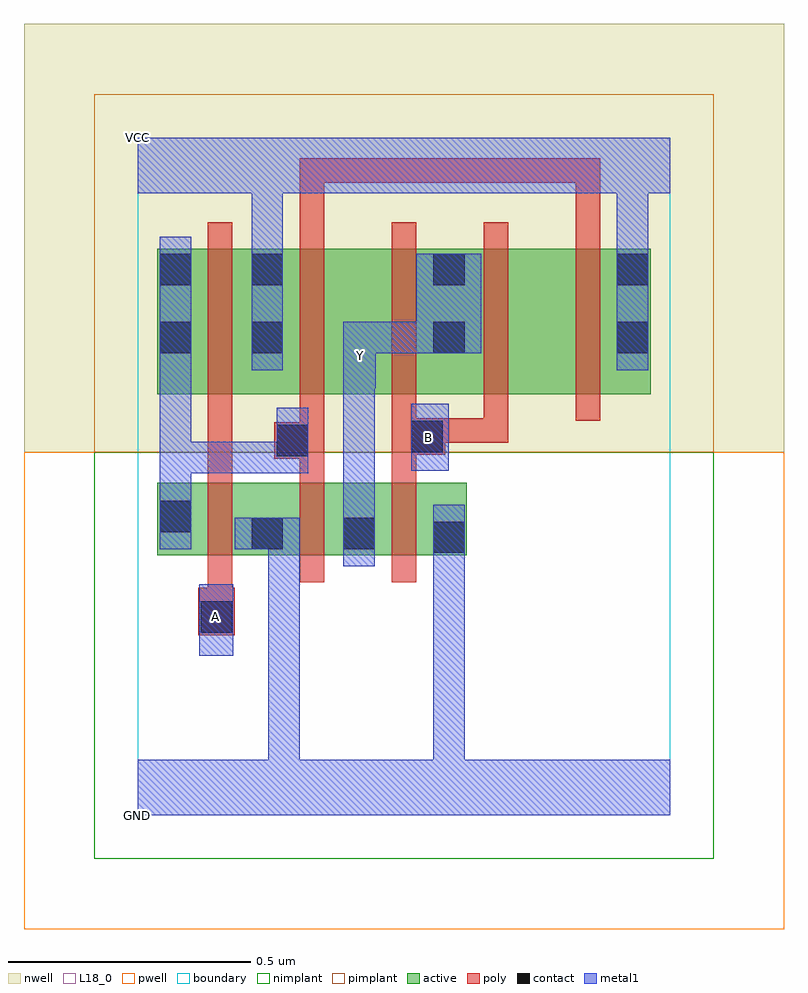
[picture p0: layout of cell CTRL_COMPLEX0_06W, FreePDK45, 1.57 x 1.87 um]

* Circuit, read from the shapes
.subckt CTRL_COMPLEX0_06W A B GND VCC Y
M1 GND A n1 VSUBS nfet w=0.15u l=0.05u
M2 Y n1 GND VSUBS nfet w=0.15u l=0.05u
M3 GND B Y VSUBS nfet w=0.15u l=0.05u
M4 VCC A n1 n2 pfet w=0.3u l=0.05u
M5 n3 n1 VCC n2 pfet w=0.3u l=0.05u
M6 Y B n3 n2 pfet w=0.3u l=0.05u
M7 n4 B Y n2 pfet w=0.3u l=0.05u
M8 VCC n1 n4 n2 pfet w=0.3u l=0.05u
.ends

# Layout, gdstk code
import gdstk
lib = gdstk.Library(unit=1e-6, precision=1e-09)
def R(c, l, rs):  # rectangles x0, y0, x1, y1
    for r in rs: c.add(gdstk.rectangle(r[:2], r[2:], *l))
def A(c, l, x, y, w, h, nx, ny, dx, dy):  # array of equal rectangles
    R(c, l, [(x+i*dx, y+j*dy, x+i*dx+w, y+j*dy+h) for i in range(nx) for j in range(ny)])
active = (1, 0)
pwell = (2, 0)
nwell = (3, 0)
nimplant = (4, 0)
pimplant = (5, 0)
poly = (9, 0)
contact = (10, 0)
metal1 = (11, 0)
L18_0 = (18, 0)
boundary = (235, 0)

ctrl_complex0_06w = lib.new_cell('CTRL_COMPLEX0_06W')
R(ctrl_complex0_06w, active, [(0.04,0.537,0.115,0.687), (0.04,0.537,0.305,0.687), (0.23,0.537,0.305,0.62), (0.23,0.537,0.495,0.687), (0.42,0.537,0.68,0.687), (0.42,0.537,0.495,0.62), (0.605,0.537,0.68,0.687), (0.04,0.87,0.305,1.17), (0.04,0.87,0.115,1.165), (0.23,0.87,0.305,1.17), (0.23,0.87,0.455,1.17), (0.455,0.87,0.68,1.17), (0.605,0.87,0.68,1.17), (0.605,0.87,0.835,1.17), (0.835,0.87,1.06,1.17), (0.985,0.87,1.06,1.17)])
R(ctrl_complex0_06w, pwell, [(-0.235,-0.235,1.335,0.75)])
R(ctrl_complex0_06w, nwell, [(-0.235,0.75,1.335,1.635)])
R(ctrl_complex0_06w, nimplant, [(-0.09,-0.09,1.19,0.75)])
R(ctrl_complex0_06w, pimplant, [(-0.09,0.75,1.19,1.49)])
A(ctrl_complex0_06w, poly, 0.145, 0.482, 0.05, 0.26, 3, 1, 0.19, 0)
A(ctrl_complex0_06w, poly, 0.145, 0.815, 0.05, 0.41, 5, 1, 0.19, 0)
R(ctrl_complex0_06w, poly, [(0.125,0.372,0.2,0.47), (0.145,0.42,0.195,0.532), (0.145,0.692,0.195,0.787), (0.335,0.692,0.385,0.787), (0.525,0.692,0.575,0.795), (0.145,0.737,0.195,0.787), (0.145,0.737,0.195,0.865), (0.282,0.737,0.385,0.812), (0.525,0.745,0.635,0.82), (0.335,0.762,0.385,0.865), (0.525,0.77,0.575,0.865), (0.585,0.77,0.765,0.82), (0.715,0.77,0.765,0.82), (0.715,0.77,0.765,0.82), (0.715,0.77,0.765,0.82), (0.715,0.77,0.765,0.865), (0.335,1.175,0.385,1.357), (0.905,1.175,0.955,1.357), (0.335,1.307,0.385,1.357), (0.335,1.307,0.385,1.357), (0.335,1.307,0.385,1.357), (0.335,1.307,0.632,1.357), (0.582,1.307,0.632,1.357), (0.582,1.307,0.822,1.357), (0.772,1.307,0.822,1.357), (0.772,1.307,0.822,1.357), (0.772,1.307,0.822,1.357), (0.772,1.307,0.955,1.357), (0.905,1.307,0.955,1.357), (0.905,1.307,0.955,1.357), (0.905,1.307,0.955,1.357)])
R(ctrl_complex0_06w, contact, [(0.13,0.377,0.195,0.442), (0.61,0.542,0.675,0.607), (0.235,0.55,0.3,0.615), (0.425,0.55,0.49,0.615), (0.045,0.585,0.11,0.65), (0.287,0.742,0.352,0.807), (0.565,0.75,0.63,0.815), (0.045,0.955,0.11,1.02), (0.235,0.955,0.3,1.02), (0.61,0.955,0.675,1.02), (0.99,0.955,1.055,1.02), (0.045,1.095,0.11,1.16), (0.235,1.095,0.3,1.16), (0.61,1.095,0.675,1.16), (0.99,1.095,1.055,1.16)])
R(ctrl_complex0_06w, metal1, [(0,0,1.1,0.115), (0.27,0.05,0.335,0.115), (0.27,0.05,0.335,0.115), (0.27,0.05,0.335,0.115), (0.27,0.05,0.335,0.115), (0.27,0.05,0.335,0.115), (0.27,0.05,0.335,0.115), (0.27,0.05,0.335,0.615), (0.61,0.05,0.675,0.115), (0.61,0.05,0.675,0.115), (0.61,0.05,0.675,0.115), (0.61,0.05,0.675,0.115), (0.61,0.05,0.675,0.115), (0.61,0.05,0.675,0.115), (0.61,0.05,0.675,0.572), (0.127,0.33,0.197,0.477), (0.61,0.507,0.675,0.642), (0.425,0.515,0.49,0.65), (0.045,0.55,0.11,0.685), (0.2,0.55,0.335,0.615), (0.425,0.585,0.49,0.947), (0.045,0.62,0.11,0.772), (0.045,0.707,0.11,0.772), (0.045,0.707,0.11,0.772), (0.045,0.707,0.11,0.772), (0.045,0.707,0.352,0.772), (0.045,0.707,0.11,0.985), (0.287,0.707,0.352,0.772), (0.287,0.707,0.352,0.772), (0.287,0.707,0.352,0.842), (0.565,0.712,0.642,0.85), (0.425,0.882,0.492,1.02), (0.045,0.92,0.11,1.195), (0.235,0.92,0.3,1.195), (0.99,0.92,1.055,1.195), (0.427,0.955,0.492,1.02), (0.427,0.955,0.492,1.02), (0.427,0.955,0.492,1.02), (0.427,0.955,0.492,1.02), (0.427,0.955,0.64,1.02), (0.575,0.955,0.71,1.16), (0.235,1.13,0.3,1.35), (0.99,1.13,1.055,1.35), (0,1.285,1.1,1.4), (0.235,1.285,0.3,1.35), (0.235,1.285,0.3,1.35), (0.99,1.285,1.055,1.35), (0.99,1.285,1.055,1.35)])
R(ctrl_complex0_06w, L18_0, [(0,0,1.1,0.115), (0.27,0.05,0.335,0.115), (0.27,0.05,0.335,0.115), (0.27,0.05,0.335,0.115), (0.27,0.05,0.335,0.115), (0.27,0.05,0.335,0.115), (0.27,0.05,0.335,0.115), (0.27,0.05,0.335,0.615), (0.61,0.05,0.675,0.115), (0.61,0.05,0.675,0.115), (0.61,0.05,0.675,0.115), (0.61,0.05,0.675,0.115), (0.61,0.05,0.675,0.115), (0.61,0.05,0.675,0.115), (0.61,0.05,0.675,0.572), (0.127,0.33,0.197,0.477), (0.127,0.377,0.192,0.442), (0.61,0.507,0.675,0.642), (0.425,0.515,0.49,0.65), (0.2,0.55,0.335,0.615), (0.425,0.585,0.49,0.947), (0.565,0.712,0.642,0.85), (0.567,0.747,0.632,0.812), (0.425,0.882,0.492,1.02), (0.427,0.917,0.492,0.982), (0.235,0.92,0.3,1.195), (0.99,0.92,1.055,1.195), (0.427,0.955,0.492,1.02), (0.427,0.955,0.492,1.02), (0.427,0.955,0.492,1.02), (0.427,0.955,0.492,1.02), (0.427,0.955,0.64,1.02), (0.575,0.955,0.71,1.16), (0.235,1.13,0.3,1.35), (0.99,1.13,1.055,1.35), (0,1.285,1.1,1.4), (0.235,1.285,0.3,1.35), (0.235,1.285,0.3,1.35), (0.99,1.285,1.055,1.35), (0.99,1.285,1.055,1.35)])
R(ctrl_complex0_06w, boundary, [(0,0,1.1,1.4)])
ctrl_complex0_06w.add(gdstk.Label('A', (0.16,0.41), layer=11, texttype=0))
ctrl_complex0_06w.add(gdstk.Label('B', (0.6,0.78), layer=11, texttype=0))
ctrl_complex0_06w.add(gdstk.Label('Y', (0.46,0.95), layer=11, texttype=0))
ctrl_complex0_06w.add(gdstk.Label('VCC', (0,1.4), layer=11, texttype=0))
ctrl_complex0_06w.add(gdstk.Label('GND', (0,0), layer=11, texttype=0))

lib.write_gds('CTRL_COMPLEX0_06W.gds')
